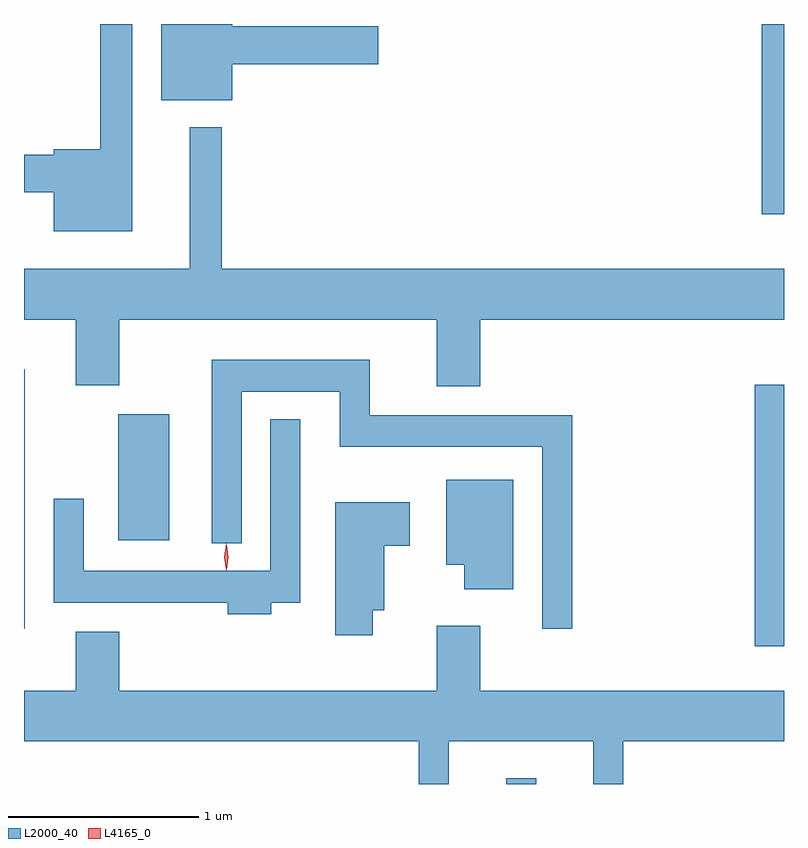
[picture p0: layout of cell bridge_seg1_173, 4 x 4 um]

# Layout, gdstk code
import gdstk
lib = gdstk.Library(unit=1e-6, precision=1e-09)
def R(c, l, rs):  # rectangles x0, y0, x1, y1
    for r in rs: c.add(gdstk.rectangle(r[:2], r[2:], *l))
def P(c, l, *ps):  # polygons
    for p in ps: c.add(gdstk.Polygon(p, *l))
L2000_40 = (2000, 40)
L4165_0 = (4165, 0)

bridge_seg1_173 = lib.new_cell('bridge_seg1_173')
R(bridge_seg1_173, L2000_40, [(805.976,930.432,806.134,930.463), (807.286,931.156,807.439,932.534), (803.439,931.248,803.444,932.614), (803.936,931.716,804.204,932.379), (807.321,933.431,807.439,934.432)])
P(bridge_seg1_173, L2000_40, [(804.534,934.221),(805.304,934.221),(805.304,934.419),(804.534,934.419),(804.534,934.432),(804.161,934.432),(804.161,934.031),(804.534,934.031)],
  [(804.009,934.432),(803.841,934.432),(803.841,933.774),(803.596,933.774),(803.596,933.744),(803.439,933.744),(803.439,933.546),(803.596,933.546),(803.596,933.341),(804.009,933.341)],
  [(805.839,932.876),(807.439,932.876),(807.439,933.144),(804.479,933.144),(804.479,933.888),(804.311,933.888),(804.311,933.144),(803.439,933.144),(803.439,932.876),(803.711,932.876),(803.711,932.531),(803.939,932.531),(803.939,932.876),(805.611,932.876),(805.611,932.526),(805.839,932.526)],
  [(806.324,932.374),(805.259,932.374),(805.259,932.664),(804.426,932.664),(804.426,931.698),(804.584,931.698),(804.584,932.496),(805.101,932.496),(805.101,932.206),(806.166,932.206),(806.166,931.248),(806.324,931.248)],
  [(804.739,931.386),(804.894,931.386),(804.894,932.353),(804.736,932.353),(804.736,931.554),(803.754,931.554),(803.754,931.933),(803.596,931.933),(803.596,931.386),(804.511,931.386),(804.511,931.326),(804.739,931.326)],
  [(806.014,932.034),(805.661,932.034),(805.661,931.586),(805.756,931.586),(805.756,931.456),(806.014,931.456)],
  [(805.274,931.346),(805.334,931.346),(805.334,931.686),(805.469,931.686),(805.469,931.914),(805.076,931.914),(805.076,931.216),(805.274,931.216)],
  [(805.674,930.656),(806.436,930.656),(806.436,930.432),(806.594,930.432),(806.594,930.656),(807.439,930.656),(807.439,930.924),(805.839,930.924),(805.839,931.264),(805.611,931.264),(805.611,930.924),(803.939,930.924),(803.939,931.234),(803.711,931.234),(803.711,930.924),(803.439,930.924),(803.439,930.656),(805.516,930.656),(805.516,930.432),(805.674,930.432)])
P(bridge_seg1_173, L4165_0, [(804.503,931.557),(804.494,931.626),(804.503,931.696),(804.504,931.696),(804.504,931.696),(804.514,931.626),(804.504,931.557),(804.504,931.557)],
  [(804.504,931.559),(804.504,931.56),(804.494,931.626),(804.504,931.692),(804.504,931.693),(804.505,931.692),(804.514,931.626),(804.505,931.56)])

lib.write_gds('bridge_seg1_173.gds')
